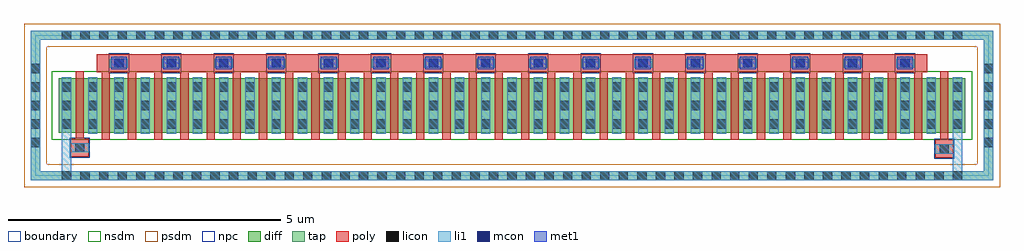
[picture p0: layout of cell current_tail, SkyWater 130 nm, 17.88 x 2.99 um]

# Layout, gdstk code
import gdstk
lib = gdstk.Library(unit=1e-6, precision=1e-09)
def R(c, l, rs):  # rectangles x0, y0, x1, y1
    for r in rs: c.add(gdstk.rectangle(r[:2], r[2:], *l))
def A(c, l, x, y, w, h, nx, ny, dx, dy):  # array of equal rectangles
    R(c, l, [(x+i*dx, y+j*dy, x+i*dx+w, y+j*dy+h) for i in range(nx) for j in range(ny)])
diff = (65, 20)
tap = (65, 44)
poly = (66, 20)
licon = (66, 44)
li1 = (67, 20)
mcon = (67, 44)
met1 = (68, 20)
nsdm = (93, 44)
psdm = (94, 20)
npc = (95, 20)
boundary = (235, 4)

current_tail = lib.new_cell('current_tail')
R(current_tail, diff, [(-8.305,-0.5,8.305,0.5)])
R(current_tail, tap, [(-8.815,-1.37,8.815,-1.2), (-8.815,-1.2,-8.645,1.2), (8.645,-1.2,8.815,1.2), (-8.815,1.2,8.815,1.37)])
A(current_tail, poly, -7.515, -0.63, 0.15, 1.24, 32, 1, 0.48, 0)
R(current_tail, poly, [(7.755,-0.96,8.085,-0.63), (-8.085,-0.94,-7.755,-0.61), (7.845,-0.63,7.995,0.63), (-7.995,-0.61,-7.845,0.63), (-7.605,0.61,7.605,0.94)])
A(current_tail, licon, -8.245, -1.37, 0.17, 0.17, 49, 2, 0.34, 2.57)
A(current_tail, licon, -8.815, -0.765, 0.17, 0.17, 1, 5, 0, 0.34)
A(current_tail, licon, 8.645, -0.765, 0.17, 0.17, 1, 5, 0, 0.34)
A(current_tail, licon, -8.245, -0.425, 0.17, 0.17, 35, 3, 0.48, 0.34)
A(current_tail, licon, -7.285, 0.69, 0.17, 0.17, 16, 1, 0.96, 0)
R(current_tail, licon, [(7.835,-0.88,8.005,-0.71), (-8.005,-0.86,-7.835,-0.69)])
A(current_tail, li1, -7.765, -0.52, 0.17, 1.04, 33, 1, 0.48, 0)
A(current_tail, li1, -7.365, 0.69, 0.33, 0.17, 16, 1, 0.96, 0)
R(current_tail, li1, [(-8.815,-1.37,8.815,-1.2), (-8.815,-1.2,-8.645,1.2), (-8.245,-1.2,-8.075,-0.86), (8.075,-1.2,8.245,-0.88), (8.645,-1.2,8.815,1.2), (7.755,-0.88,8.245,-0.71), (-8.245,-0.86,-7.755,-0.69), (8.075,-0.71,8.245,0.52), (-8.245,-0.69,-8.075,0.52), (-8.815,1.2,8.815,1.37)])
A(current_tail, mcon, -7.285, 0.69, 0.17, 0.17, 16, 1, 0.96, 0)
A(current_tail, met1, -7.345, 0.66, 0.29, 0.23, 16, 1, 0.96, 0)
R(current_tail, nsdm, [(-8.43,-0.625,8.43,0.625)])
R(current_tail, psdm, [(-8.94,-1.495,8.94,-1.075), (-8.94,-1.075,-8.52,1.075), (8.52,-1.075,8.94,1.075), (-8.94,1.075,8.94,1.495)])
A(current_tail, npc, -7.385, 0.59, 0.37, 0.37, 16, 1, 0.96, 0)
R(current_tail, npc, [(7.735,-0.98,8.105,-0.61), (-8.105,-0.96,-7.735,-0.59)])
R(current_tail, boundary, [(-8.73,-1.285,8.73,1.285)])

lib.write_gds('current_tail.gds')
